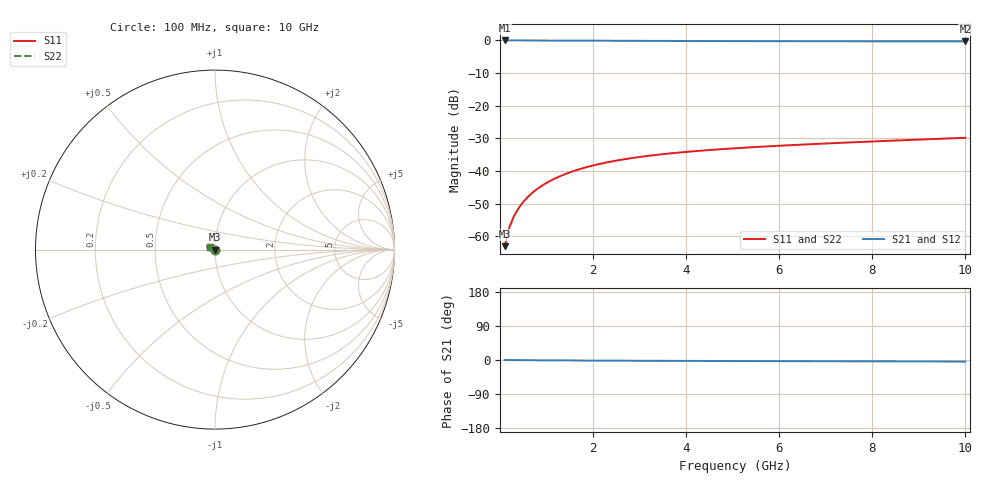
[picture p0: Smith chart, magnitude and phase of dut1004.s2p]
! Touchstone file exported from HFSS 2024.1.0
!  File:  C:/UserFiles/LocalFiles/RDL_TSV_Batchsim/temp_TSV1_1004_1780058282.aedt
!  Generated:  08:44:33 PM May 29, 2026
!  Design:  TSV1
!  Project:  temp_TSV1_1004_1780058282
!  Setup:  Setup1
!  Solution:  Sweep
! Variables:
!  dtsv = 7.69um
!  hbump = 3um
!  htsv = 59.89um
!  lrdl = 252.1521522um
!  p = 40
!  p1 = 52.08um
!  t = 500um
!  trdl = 3um
!  wrdl = 24.89489489um
# GHz S MA R 50.000000
! Terminal data exported
! Port[1] = TSV22_T1
! Port[2] = TSV22_T2
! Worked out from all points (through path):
!   100 points, 100 MHz to 10 GHz, reference 50 ohm
!   highest |S21| = 0.00 dB at 100 MHz (marker M1); lowest = -0.3 dB at 10 GHz (marker M2)
!   lowest |S11| = -63.1 dB at 100 MHz (marker M3), VSWR 1.00, Z = 50 - j0.068 ohm
!   |S11| at or under -10 dB: start of sweep to end of sweep
!   |S22| runs from -63.1 to -29.8 dB; largest |S21 - S12| = 5.4e-15
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0.1  0.0007031 -75.1  0.9998 -0.1  0.9998 -0.1  0.0007031 -75.1
! Gamma 0 0 0 0
! Port Impedance 50 0 50 0
0.2  0.001359 -85.7  0.9997 -0.2  0.9997 -0.2  0.001359 -85.7
0.3  0.002023 -90.7  0.9995 -0.3  0.9995 -0.3  0.002023 -90.7
0.4  0.002687 -94.3  0.9993 -0.4  0.9993 -0.4  0.002687 -94.3
0.5  0.003348 -97.3  0.9991 -0.4  0.9991 -0.4  0.003348 -97.3
0.6  0.004004 -100.1  0.9988 -0.5  0.9988 -0.5  0.004004 -100.1
0.7  0.004655 -102.6  0.9985 -0.6  0.9985 -0.6  0.004655 -102.6
0.8  0.005297 -105.0  0.9981 -0.7  0.9981 -0.7  0.005297 -105.0
0.9  0.005931 -107.2  0.9977 -0.8  0.9977 -0.8  0.005931 -107.2
1.1  0.00717 -111.6  0.9968 -0.9  0.9968 -0.9  0.00717 -111.6
1.4  0.00894 -117.8  0.9952 -1.2  0.9952 -1.2  0.00894 -117.8
1.6  0.01006 -121.7  0.9941 -1.3  0.9941 -1.3  0.01006 -121.7
1.8  0.01112 -125.5  0.9929 -1.4  0.9929 -1.4  0.01112 -125.5
2.1  0.0126 -130.8  0.9911 -1.6  0.9911 -1.6  0.0126 -130.8
2.5  0.0144 -137.5  0.9887 -1.8  0.9887 -1.8  0.0144 -137.5
2.9  0.01599 -143.7  0.9864 -2.0  0.9864 -2.0  0.01599 -143.7
3.4  0.01775 -150.8  0.9837 -2.2  0.9837 -2.2  0.01775 -150.8
4.2  0.02012 -160.8  0.98 -2.5  0.98 -2.5  0.02012 -160.8
5.1  0.02236 -170.5  0.9768 -2.7  0.9768 -2.7  0.02236 -170.5
6.7  0.02574 175.5  0.9726 -3.2  0.9726 -3.2  0.02574 175.5
8.4  0.02906 163.9  0.9698 -3.7  0.9698 -3.7  0.02906 163.9
10  0.0322 155.0  0.9679 -4.1  0.9679 -4.1  0.0322 155.0
